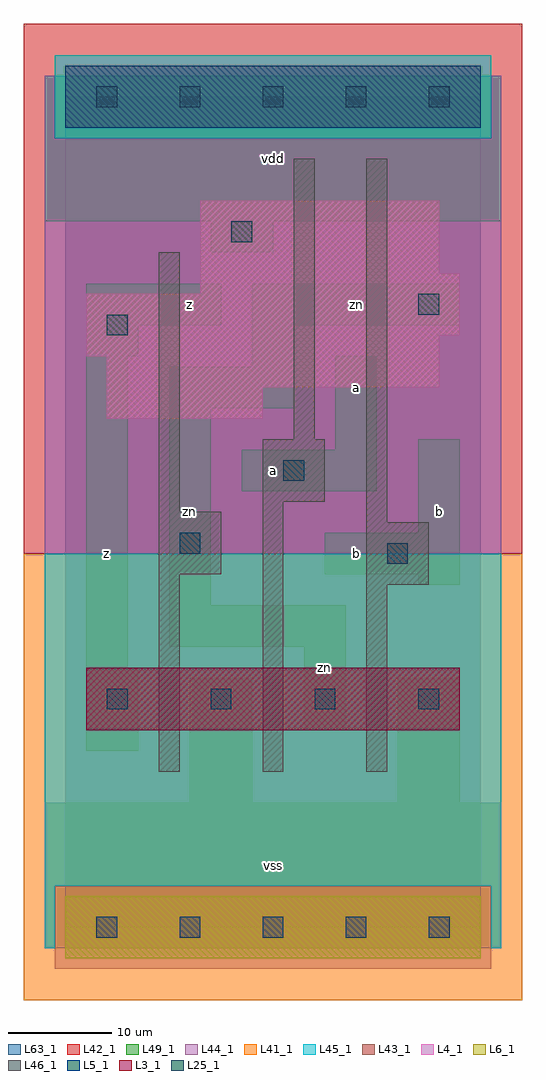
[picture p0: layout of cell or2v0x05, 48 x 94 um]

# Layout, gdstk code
import gdstk
lib = gdstk.Library(unit=1e-6, precision=1e-09)
def R(c, l, rs):  # rectangles x0, y0, x1, y1
    for r in rs: c.add(gdstk.rectangle(r[:2], r[2:], *l))
def A(c, l, x, y, w, h, nx, ny, dx, dy):  # array of equal rectangles
    R(c, l, [(x+i*dx, y+j*dy, x+i*dx+w, y+j*dy+h) for i in range(nx) for j in range(ny)])
L3_1 = (3, 1)
L4_1 = (4, 1)
L5_1 = (5, 1)
L6_1 = (6, 1)
L25_1 = (25, 1)
L41_1 = (41, 1)
L42_1 = (42, 1)
L43_1 = (43, 1)
L44_1 = (44, 1)
L45_1 = (45, 1)
L46_1 = (46, 1)
L49_1 = (49, 1)
L63_1 = (63, 1)

or2v0x05 = lib.new_cell('or2v0x05')
R(or2v0x05, L3_1, [(2,19,38,25)])
R(or2v0x05, L4_1, [(4,49,19,52), (4,52,36,55), (2,55,36,57), (2,57,38,61), (13,61,38,63), (13,63,36,70)])
R(or2v0x05, L5_1, [(0,77,40,83)])
R(or2v0x05, L6_1, [(0,-3,40,3), (0,-3,40,3)])
A(or2v0x05, L25_1, 3, -1, 2, 2, 5, 2, 8, 80)
A(or2v0x05, L25_1, 4, 21, 2, 2, 4, 1, 10, 0)
R(or2v0x05, L25_1, [(31,35,33,37), (11,36,13,38), (21,43,23,45), (4,57,6,59), (34,59,36,61), (16,66,18,68)])
R(or2v0x05, L41_1, [(-4,-7,44,36)])
R(or2v0x05, L42_1, [(-4,36,44,87)])
R(or2v0x05, L43_1, [(0,-3,40,3), (2,19,38,25), (4,49,19,52), (4,52,36,55), (2,55,36,57), (2,57,38,61), (13,61,38,63), (13,63,36,70), (0,77,40,83)])
R(or2v0x05, L44_1, [(-1,-4,41,4), (-2,36,42,76), (-2,76,-1,82), (41,76,42,82)])
R(or2v0x05, L45_1, [(-2,-2,-1,4), (41,-2,42,4), (-2,4,42,36), (-1,76,41,84)])
R(or2v0x05, L46_1, [(9,15,11,34), (19,15,21,41), (29,15,31,33), (29,33,35,39), (9,34,15,40), (29,39,31,74), (9,40,11,65), (19,41,25,47), (22,47,24,74)])
R(or2v0x05, L49_1, [(-2,-2,42,12), (12,12,18,24), (32,12,38,24), (2,17,7,25), (23,19,27,27), (2,25,6,55), (10,27,27,31), (10,31,14,50), (34,33,38,34), (25,34,38,38), (34,38,38,47), (17,42,30,46), (26,46,30,55), (10,50,22,54), (18,54,22,58), (2,55,7,58), (2,58,15,62), (18,58,38,62), (14,65,20,68), (-2,68,42,82)])
R(or2v0x05, L63_1, [(0,0,40,80)])
or2v0x05.add(gdstk.Label('z', (4,36), layer=49, texttype=1))
or2v0x05.add(gdstk.Label('zn', (12,40), layer=49, texttype=1))
or2v0x05.add(gdstk.Label('z', (12,60), layer=49, texttype=1))
or2v0x05.add(gdstk.Label('vss', (20,6), layer=49, texttype=1))
or2v0x05.add(gdstk.Label('zn', (25,25), layer=49, texttype=1))
or2v0x05.add(gdstk.Label('b', (28,36), layer=49, texttype=1))
or2v0x05.add(gdstk.Label('a', (20,44), layer=49, texttype=1))
or2v0x05.add(gdstk.Label('a', (28,52), layer=49, texttype=1))
or2v0x05.add(gdstk.Label('vdd', (20,74), layer=49, texttype=1))
or2v0x05.add(gdstk.Label('b', (36,40), layer=49, texttype=1))
or2v0x05.add(gdstk.Label('zn', (28,60), layer=49, texttype=1))

lib.write_gds('or2v0x05.gds')
